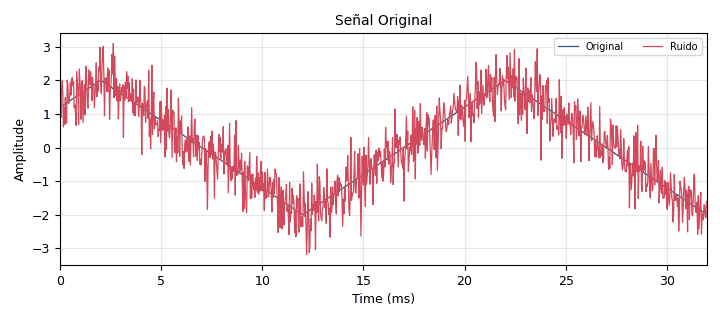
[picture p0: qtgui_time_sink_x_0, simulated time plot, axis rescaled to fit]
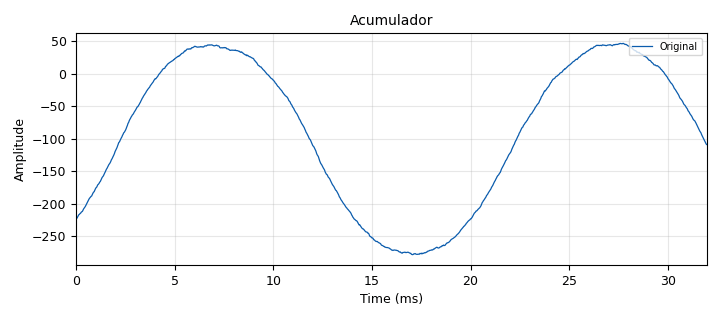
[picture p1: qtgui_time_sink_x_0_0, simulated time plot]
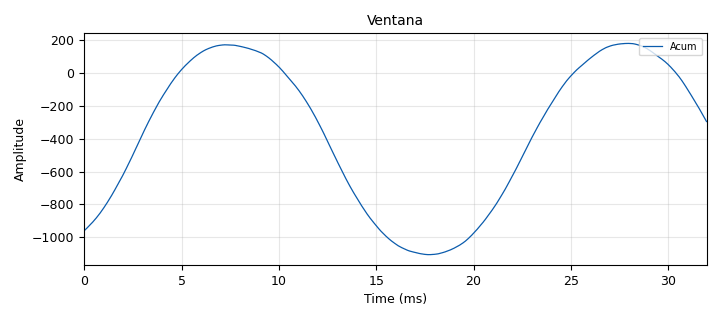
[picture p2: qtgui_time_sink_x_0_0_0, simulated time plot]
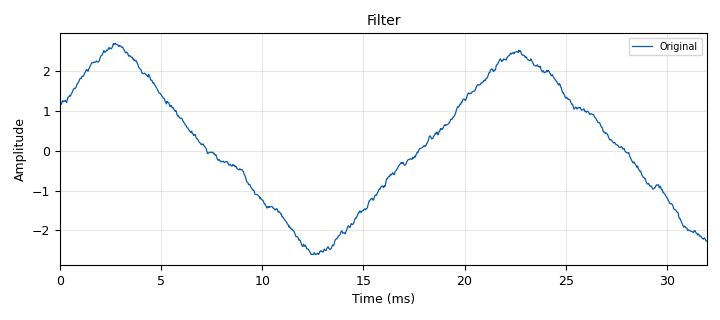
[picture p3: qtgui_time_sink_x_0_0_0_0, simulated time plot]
options:
  parameters:
    generate_options: qt_gui
    id: Aplicacion
    output_language: python
    title: Not titled yet
  states: {}

blocks:
- name: samp_rate
  id: variable
  parameters:
    value: '32000'
  states: {}
- name: Acumulador
  id: qtgui_number_sink
  parameters:
    graph_type: qtgui.NUM_GRAPH_HORIZ
    label1: Media
    label2: Media-cuadratica
    label3: RMS
    label4: Potencia_promedio
    label5: Desviacion_estandar
    name: Acumulador
    nconnections: '5'
    type: float
  states: {}
- name: Filter_Signal
  id: qtgui_number_sink
  parameters:
    graph_type: qtgui.NUM_GRAPH_HORIZ
    label1: Media
    label2: Media-cuadratica
    label3: RMS
    label4: Potencia_promedio
    label5: Desviacion_estandar
    name: '"Filter_Signal"'
    nconnections: '5'
    type: float
  states: {}
- name: Original
  id: qtgui_number_sink
  parameters:
    graph_type: qtgui.NUM_GRAPH_HORIZ
    label1: Media
    label2: Media-cuadratica
    label3: RMS
    label4: Potencia_promedio
    label5: Desviacion_estandar
    name: '"Señal_Original"'
    nconnections: '5'
    type: float
  states: {}
- name: Ruido
  id: qtgui_number_sink
  parameters:
    graph_type: qtgui.NUM_GRAPH_HORIZ
    label1: Media
    label2: Media-cuadratica
    label3: RMS
    label4: Potencia_promedio
    label5: Desviacion_estandar
    name: Señal_ruido
    nconnections: '5'
    type: float
  states: {}
- name: analog_noise_source_x_0
  id: analog_noise_source_x
  parameters:
    amp: '0.5'
    noise_type: analog.GR_GAUSSIAN
    seed: '0'
    type: float
  states: {}
- name: analog_sig_source_x_0
  id: analog_sig_source_x
  parameters:
    amp: '4'
    freq: '50'
    offset: '-2'
    phase: '0'
    samp_rate: samp_rate
    type: float
    waveform: analog.GR_TRI_WAVE
  states: {}
- name: blocks_add_xx_0
  id: blocks_add_xx
  parameters:
    type: float
  states: {}
- name: blocks_moving_average_xx_0
  id: blocks_moving_average_xx
  parameters:
    length: '40'
    max_iter: '60'
    scale: '0.1'
    type: float
  states: {}
- name: blocks_multiply_const_vxx_1
  id: blocks_multiply_const_vxx
  parameters:
    const: 1/3
    type: float
  states: {}
- name: blocks_throttle2_0
  id: blocks_throttle2
  parameters:
    samples_per_second: samp_rate
    type: float
  states: {}
- name: epy_block_0
  id: epy_block
  parameters:
    _source_code: |
      import numpy as np
      from gnuradio import gr

      class blk(gr.sync_block):

          def __init__(self):  
              gr.sync_block.__init__(
                  self,
                  name='Promedios_de_tiempos',
                  in_sig=[np.float32],
                  out_sig=[np.float32, np.float32, np.float32, np.float32, np.float32]
              )
              # Acumuladores globales
              self.acum_sum = 0
              self.acum_sum2 = 0
              self.acum_var = 0
              self.Ntotales = 0

          def work(self, input_items, output_items):
              x = input_items[0]    
              y0, y1, y2, y3, y4 = output_items  

              N = len(x)
              self.Ntotales += N

              # -------------------
              # Media aritmética
              # -------------------
              self.acum_sum += np.sum(x)
              promedio = self.acum_sum / self.Ntotales
              y0[:] = promedio

              # -------------------
              # Media cuadrática (E[x²])
              # -------------------
              self.acum_sum2 += np.sum(x**2)
              media_cuadratica = self.acum_sum2 / self.Ntotales
              y1[:] = media_cuadratica

              # -------------------
              # RMS
              # -------------------
              rms = np.sqrt(media_cuadratica)
              y2[:] = rms

              # -------------------
              # Potencia promedio (en dB)
              # -------------------
              potencia_db = 10 * np.log10(media_cuadratica + 1e-12)  # evitar log(0)
              y3[:] = potencia_db

              # -------------------
              # Desviación estándar
              # -------------------
              self.acum_var += np.sum((x - promedio) ** 2)
              desviacion = np.sqrt(self.acum_var / self.Ntotales)
              y4[:] = desviacion

              return len(x)
  states: {}
- name: epy_block_0_0
  id: epy_block
  parameters:
    _source_code: |
      import numpy as np
      from gnuradio import gr

      class blk(gr.sync_block):

          def __init__(self):  
              gr.sync_block.__init__(
                  self,
                  name='Promedios_de_tiempos',
                  in_sig=[np.float32],
                  out_sig=[np.float32, np.float32, np.float32, np.float32, np.float32]
              )
              # Acumuladores globales
              self.acum_sum = 0
              self.acum_sum2 = 0
              self.acum_var = 0
              self.Ntotales = 0

          def work(self, input_items, output_items):
              x = input_items[0]    
              y0, y1, y2, y3, y4 = output_items  

              N = len(x)
              self.Ntotales += N

              # -------------------
              # Media aritmética
              # -------------------
              self.acum_sum += np.sum(x)
              promedio = self.acum_sum / self.Ntotales
              y0[:] = promedio

              # -------------------
              # Media cuadrática (E[x²])
              # -------------------
              self.acum_sum2 += np.sum(x**2)
              media_cuadratica = self.acum_sum2 / self.Ntotales
              y1[:] = media_cuadratica

              # -------------------
              # RMS
              # -------------------
              rms = np.sqrt(media_cuadratica)
              y2[:] = rms

              # -------------------
              # Potencia promedio (en dB)
              # -------------------
              potencia_db = 10 * np.log10(media_cuadratica + 1e-12)  # evitar log(0)
              y3[:] = potencia_db

              # -------------------
              # Desviación estándar
              # -------------------
              self.acum_var += np.sum((x - promedio) ** 2)
              desviacion = np.sqrt(self.acum_var / self.Ntotales)
              y4[:] = desviacion

              return len(x)
  states: {}
- name: epy_block_0_0_0
  id: epy_block
  parameters:
    _source_code: |
      import numpy as np
      from gnuradio import gr

      class blk(gr.sync_block):

          def __init__(self):  
              gr.sync_block.__init__(
                  self,
                  name='Promedios_de_tiempos',
                  in_sig=[np.float32],
                  out_sig=[np.float32, np.float32, np.float32, np.float32, np.float32]
              )
              # Acumuladores globales
              self.acum_sum = 0
              self.acum_sum2 = 0
              self.acum_var = 0
              self.Ntotales = 0

          def work(self, input_items, output_items):
              x = input_items[0]    
              y0, y1, y2, y3, y4 = output_items  

              N = len(x)
              self.Ntotales += N

              # -------------------
              # Media aritmética
              # -------------------
              self.acum_sum += np.sum(x)
              promedio = self.acum_sum / self.Ntotales
              y0[:] = promedio

              # -------------------
              # Media cuadrática (E[x²])
              # -------------------
              self.acum_sum2 += np.sum(x**2)
              media_cuadratica = self.acum_sum2 / self.Ntotales
              y1[:] = media_cuadratica

              # -------------------
              # RMS
              # -------------------
              rms = np.sqrt(media_cuadratica)
              y2[:] = rms

              # -------------------
              # Potencia promedio (en dB)
              # -------------------
              potencia_db = 10 * np.log10(media_cuadratica + 1e-12)  # evitar log(0)
              y3[:] = potencia_db

              # -------------------
              # Desviación estándar
              # -------------------
              self.acum_var += np.sum((x - promedio) ** 2)
              desviacion = np.sqrt(self.acum_var / self.Ntotales)
              y4[:] = desviacion

              return len(x)
  states: {}
- name: epy_block_0_0_0_0
  id: epy_block
  parameters:
    _source_code: |
      import numpy as np
      from gnuradio import gr

      class blk(gr.sync_block):

          def __init__(self):  
              gr.sync_block.__init__(
                  self,
                  name='Promedios_de_tiempos',
                  in_sig=[np.float32],
                  out_sig=[np.float32, np.float32, np.float32, np.float32, np.float32]
              )
              # Acumuladores globales
              self.acum_sum = 0
              self.acum_sum2 = 0
              self.acum_var = 0
              self.Ntotales = 0

          def work(self, input_items, output_items):
              x = input_items[0]    
              y0, y1, y2, y3, y4 = output_items  

              N = len(x)
              self.Ntotales += N

              # -------------------
              # Media aritmética
              # -------------------
              self.acum_sum += np.sum(x)
              promedio = self.acum_sum / self.Ntotales
              y0[:] = promedio

              # -------------------
              # Media cuadrática (E[x²])
              # -------------------
              self.acum_sum2 += np.sum(x**2)
              media_cuadratica = self.acum_sum2 / self.Ntotales
              y1[:] = media_cuadratica

              # -------------------
              # RMS
              # -------------------
              rms = np.sqrt(media_cuadratica)
              y2[:] = rms

              # -------------------
              # Potencia promedio (en dB)
              # -------------------
              potencia_db = 10 * np.log10(media_cuadratica + 1e-12)  # evitar log(0)
              y3[:] = potencia_db

              # -------------------
              # Desviación estándar
              # -------------------
              self.acum_var += np.sum((x - promedio) ** 2)
              desviacion = np.sqrt(self.acum_var / self.Ntotales)
              y4[:] = desviacion

              return len(x)
  states: {}
- name: epy_block_0_1_0
  id: epy_block
  parameters:
    _source_code: |
      """
      Embedded Python Blocks:

      Each time this file is saved, GRC will instantiate the first class it finds
      to get ports and parameters of your block. The arguments to __init__  will
      be the parameters. All of them are required to have default values!
      """

      import numpy as np
      from gnuradio import gr


      class blk(gr.sync_block):  # other base classes are basic_block, decim_block, interp_block
          """Embedded Python Block example - a simple multiply const"""

          def __init__(self):  # only default arguments here
              """arguments to this function show up as parameters in GRC"""
              gr.sync_block.__init__(
                  self,
                  name='e_Acum',   # will show up in GRC
                  in_sig=[np.float32],
                  out_sig=[np.float32]
              )
              # if an attribute with the same name as a parameter is found,
              # a callback is registered (properties work, too).

          def work(self, input_items, output_items):
              """example: multiply with constant"""
              x= input_items[0] #Serial de entrada
              y0= output_items[0] #Serial acumulada
              y0[:] = np.cumsum(x)
              return len(y0)
  states: {}
- name: epy_block_1_0
  id: epy_block
  parameters:
    _source_code: |
      import numpy as np
      from gnuradio import gr

      class differentiator(gr.sync_block):
          def __init__(self):
              gr.sync_block.__init__(self,
                  name="eDiff",
                  in_sig=[np.float32],
                  out_sig=[np.float32])
              self.prev = 0.0  # valor anterior de la señal

          def work(self, input_items, output_items):
              x = input_items[0]
              y = output_items[0]

              # Diferenciación discreta: y[n] = x[n] - x[n-1]
              y[0] = x[0] - self.prev
              for i in range(1, len(x)):
                  y[i] = x[i] - x[i-1]

              # Guardar último valor para la próxima llamada
              self.prev = x[-1]

              return len(y)
  states: {}
- name: qtgui_time_sink_x_0
  id: qtgui_time_sink_x
  parameters:
    label1: Original
    label2: Ruido
    name: '"Señal Original"'
    nconnections: '2'
    size: '1024'
    srate: samp_rate
    type: float
  states: {}
- name: qtgui_time_sink_x_0_0
  id: qtgui_time_sink_x
  parameters:
    autoscale: 'True'
    label1: Original
    name: '"Acumulador"'
    size: '1024'
    srate: samp_rate
    type: float
  states: {}
- name: qtgui_time_sink_x_0_0_0
  id: qtgui_time_sink_x
  parameters:
    autoscale: 'True'
    label1: Acum
    name: '"Ventana"'
    size: '1024'
    srate: samp_rate
    type: float
  states: {}
- name: qtgui_time_sink_x_0_0_0_0
  id: qtgui_time_sink_x
  parameters:
    autoscale: 'True'
    label1: Original
    name: '"Filter"'
    size: '1024'
    srate: samp_rate
    type: float
  states: {}

connections:
- [analog_noise_source_x_0, '0', blocks_add_xx_0, '1']
- [analog_sig_source_x_0, '0', blocks_add_xx_0, '0']
- [analog_sig_source_x_0, '0', epy_block_0, '0']
- [analog_sig_source_x_0, '0', qtgui_time_sink_x_0, '0']
- [blocks_add_xx_0, '0', blocks_throttle2_0, '0']
- [blocks_moving_average_xx_0, '0', epy_block_1_0, '0']
- [blocks_moving_average_xx_0, '0', qtgui_time_sink_x_0_0_0, '0']
- [blocks_multiply_const_vxx_1, '0', epy_block_0_0_0_0, '0']
- [blocks_multiply_const_vxx_1, '0', qtgui_time_sink_x_0_0_0_0, '0']
- [blocks_throttle2_0, '0', epy_block_0_0, '0']
- [blocks_throttle2_0, '0', epy_block_0_1_0, '0']
- [blocks_throttle2_0, '0', qtgui_time_sink_x_0, '1']
- [epy_block_0, '0', Original, '0']
- [epy_block_0, '1', Original, '1']
- [epy_block_0, '2', Original, '2']
- [epy_block_0, '3', Original, '3']
- [epy_block_0, '4', Original, '4']
- [epy_block_0_0, '0', Ruido, '0']
- [epy_block_0_0, '1', Ruido, '1']
- [epy_block_0_0, '2', Ruido, '2']
- [epy_block_0_0, '3', Ruido, '3']
- [epy_block_0_0, '4', Ruido, '4']
- [epy_block_0_0_0, '0', Acumulador, '0']
- [epy_block_0_0_0, '1', Acumulador, '1']
- [epy_block_0_0_0, '2', Acumulador, '2']
- [epy_block_0_0_0, '3', Acumulador, '3']
- [epy_block_0_0_0, '4', Acumulador, '4']
- [epy_block_0_0_0_0, '0', Filter_Signal, '0']
- [epy_block_0_0_0_0, '1', Filter_Signal, '1']
- [epy_block_0_0_0_0, '2', Filter_Signal, '2']
- [epy_block_0_0_0_0, '3', Filter_Signal, '3']
- [epy_block_0_0_0_0, '4', Filter_Signal, '4']
- [epy_block_0_1_0, '0', blocks_moving_average_xx_0, '0']
- [epy_block_0_1_0, '0', epy_block_0_0_0, '0']
- [epy_block_0_1_0, '0', qtgui_time_sink_x_0_0, '0']
- [epy_block_1_0, '0', blocks_multiply_const_vxx_1, '0']

metadata:
  file_format: 1
  grc_version: v3.10.11.0-89-ga17f69e7
